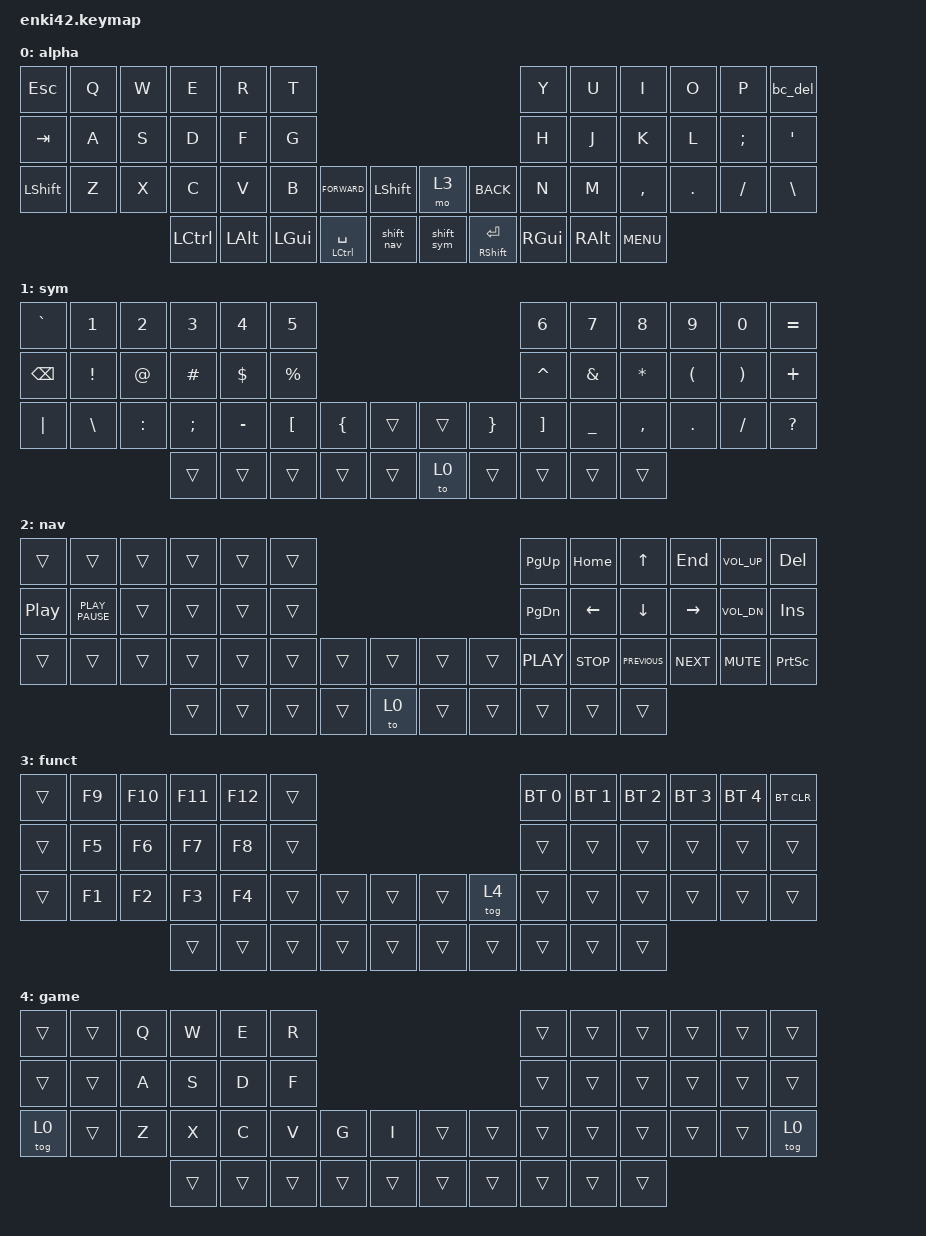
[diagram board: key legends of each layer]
/*
 * Copyright (c) 2023 The ZMK Contributors
 *
 * SPDX-License-Identifier: MIT
 */

#include <behaviors.dtsi>
#include <dt-bindings/zmk/bt.h>
#include <dt-bindings/zmk/keys.h>

&lt {
    tapping-term-ms = <300>;
    flavor = "hold-preferred";
};

/ {
    behaviors {
        shift_sym: shift_sym {
            compatible = "zmk,behavior-mod-morph";
            label = "SHIFT_SYM";
            bindings = <&lt 1 ENTER>, <&to 1>;

            #binding-cells = <0>;
            mods = <(MOD_LSFT|MOD_RSFT)>;
        };

        shift_nav: shift_nav {
            compatible = "zmk,behavior-mod-morph";
            label = "SHIFT_NAV";
            bindings = <&lt 2 SPACE>, <&to 2>;

            #binding-cells = <0>;
            mods = <(MOD_LSFT|MOD_RSFT)>;
        };

        bc_del: bc_del {
            compatible = "zmk,behavior-mod-morph";
            label = "BC_DEL";
            bindings = <&kp BACKSPACE>, <&kp DELETE>;

            #binding-cells = <0>;
            mods = <(MOD_LSFT|MOD_RSFT)>;
        };
    };

    keymap {
        compatible = "zmk,keymap";

        alpha {
            bindings = <
&kp ESC    &kp Q  &kp W  &kp E      &kp R     &kp T                                                                     &kp Y          &kp U          &kp I       &kp O    &kp P     &bc_del
&kp TAB    &kp A  &kp S  &kp D      &kp F     &kp G                                                                     &kp H          &kp J          &kp K       &kp L    &kp SEMI  &kp SQT
&kp LSHFT  &kp Z  &kp X  &kp C      &kp V     &kp B     &kp K_FORWARD    &kp LSHFT   &mo 3       &kp K_BACK             &kp N          &kp M          &kp COMMA   &kp DOT  &kp FSLH  &kp BACKSLASH
                         &kp LCTRL  &kp LALT  &kp LGUI  &mt LCTRL SPACE  &shift_nav  &shift_sym  &mt RIGHT_SHIFT ENTER  &kp RIGHT_GUI  &kp RIGHT_ALT  &kp K_MENU
            >;
        };

        sym {
            bindings = <
&kp GRAVE  &kp N1         &kp N2       &kp N3         &kp N4      &kp N5                                                             &kp N6             &kp N7          &kp N8        &kp N9                &kp N0                 &kp EQUAL
&kp BSPC   &kp EXCL       &kp AT_SIGN  &kp HASH       &kp DOLLAR  &kp PERCENT                                                        &kp CARET          &kp AMPERSAND   &kp ASTERISK  &kp LEFT_PARENTHESIS  &kp RIGHT_PARENTHESIS  &kp PLUS
&kp PIPE   &kp BACKSLASH  &kp COLON    &kp SEMICOLON  &kp MINUS   &kp LEFT_BRACKET  &kp LEFT_BRACE  &trans  &trans  &kp RIGHT_BRACE  &kp RIGHT_BRACKET  &kp UNDERSCORE  &kp COMMA     &kp PERIOD            &kp SLASH              &kp QUESTION
                                       &trans         &trans      &trans            &trans          &trans  &to 0   &trans           &trans             &trans          &trans
            >;
        };

        nav {
            bindings = <
&trans            &trans            &trans  &trans  &trans  &trans                                  &kp PG_UP      &kp HOME    &kp UP_ARROW    &kp END     &kp C_VOLUME_UP  &kp DELETE
&kp C_PLAY_PAUSE  &kp K_PLAY_PAUSE  &trans  &trans  &trans  &trans                                  &kp PAGE_DOWN  &kp LEFT    &kp DOWN        &kp RIGHT   &kp C_VOL_DN     &kp INSERT
&trans            &trans            &trans  &trans  &trans  &trans  &trans  &trans  &trans  &trans  &kp C_PLAY     &kp C_STOP  &kp C_PREVIOUS  &kp C_NEXT  &kp C_MUTE       &kp PRINTSCREEN
                                            &trans  &trans  &trans  &trans  &to 0   &trans  &trans  &trans         &trans      &trans
            >;
        };

        funct {
            bindings = <
&trans  &kp F9  &kp F10  &kp F11  &kp F12  &trans                                  &bt BT_SEL 0  &bt BT_SEL 1  &bt BT_SEL 2  &bt BT_SEL 3  &bt BT_SEL 4  &bt BT_CLR
&trans  &kp F5  &kp F6   &kp F7   &kp F8   &trans                                  &trans        &trans        &trans        &trans        &trans        &trans
&trans  &kp F1  &kp F2   &kp F3   &kp F4   &trans  &trans  &trans  &trans  &tog 4  &trans        &trans        &trans        &trans        &trans        &trans
                         &trans   &trans   &trans  &trans  &trans  &trans  &trans  &trans        &trans        &trans
            >;
        };

        game {
            bindings = <
&trans  &trans  &kp Q  &kp W   &kp E   &kp R                                   &trans  &trans  &trans  &trans  &trans  &trans
&trans  &trans  &kp A  &kp S   &kp D   &kp F                                   &trans  &trans  &trans  &trans  &trans  &trans
&tog 0  &trans  &kp Z  &kp X   &kp C   &kp V   &kp G   &kp I   &trans  &trans  &trans  &trans  &trans  &trans  &trans  &tog 0
                       &trans  &trans  &trans  &trans  &trans  &trans  &trans  &trans  &trans  &trans
            >;
        };
    };
};

